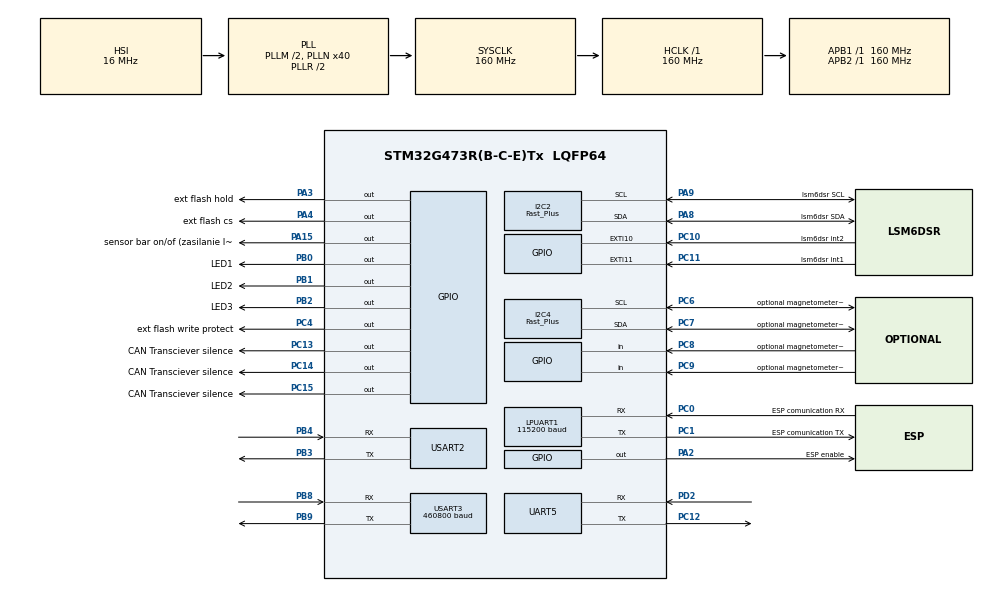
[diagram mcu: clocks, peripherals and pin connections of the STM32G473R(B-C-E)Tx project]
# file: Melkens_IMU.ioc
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Dma.LPUART1_RX.2.Direction=DMA_PERIPH_TO_MEMORY
Dma.LPUART1_RX.2.EventEnable=DISABLE
Dma.LPUART1_RX.2.Instance=DMA1_Channel1
Dma.LPUART1_RX.2.MemDataAlignment=DMA_MDATAALIGN_BYTE
Dma.LPUART1_RX.2.MemInc=DMA_MINC_ENABLE
Dma.LPUART1_RX.2.Mode=DMA_NORMAL
Dma.LPUART1_RX.2.PeriphDataAlignment=DMA_PDATAALIGN_BYTE
Dma.LPUART1_RX.2.PeriphInc=DMA_PINC_DISABLE
Dma.LPUART1_RX.2.Polarity=HAL_DMAMUX_REQ_GEN_RISING
Dma.LPUART1_RX.2.Priority=DMA_PRIORITY_LOW
Dma.LPUART1_RX.2.RequestNumber=1
Dma.LPUART1_RX.2.SignalID=NONE
Dma.LPUART1_RX.2.SyncEnable=DISABLE
Dma.LPUART1_RX.2.SyncPolarity=HAL_DMAMUX_SYNC_NO_EVENT
Dma.LPUART1_RX.2.SyncRequestNumber=1
Dma.LPUART1_RX.2.SyncSignalID=NONE
Dma.LPUART1_TX.3.Direction=DMA_MEMORY_TO_PERIPH
Dma.LPUART1_TX.3.EventEnable=DISABLE
Dma.LPUART1_TX.3.Instance=DMA1_Channel2
Dma.LPUART1_TX.3.MemDataAlignment=DMA_MDATAALIGN_BYTE
Dma.LPUART1_TX.3.MemInc=DMA_MINC_ENABLE
Dma.LPUART1_TX.3.Mode=DMA_NORMAL
Dma.LPUART1_TX.3.PeriphDataAlignment=DMA_PDATAALIGN_BYTE
Dma.LPUART1_TX.3.PeriphInc=DMA_PINC_DISABLE
Dma.LPUART1_TX.3.Polarity=HAL_DMAMUX_REQ_GEN_RISING
Dma.LPUART1_TX.3.Priority=DMA_PRIORITY_LOW
Dma.LPUART1_TX.3.RequestNumber=1
Dma.LPUART1_TX.3.SignalID=NONE
Dma.LPUART1_TX.3.SyncEnable=DISABLE
Dma.LPUART1_TX.3.SyncPolarity=HAL_DMAMUX_SYNC_NO_EVENT
Dma.LPUART1_TX.3.SyncRequestNumber=1
Dma.LPUART1_TX.3.SyncSignalID=NONE
Dma.Request0=USART3_TX
Dma.Request1=USART3_RX
Dma.Request2=LPUART1_RX
Dma.Request3=LPUART1_TX
Dma.Request4=USART2_RX
Dma.Request5=USART2_TX
Dma.Request6=UART5_RX
Dma.Request7=UART5_TX
Dma.UART5_RX.6.Direction=DMA_PERIPH_TO_MEMORY
Dma.UART5_RX.6.EventEnable=DISABLE
Dma.UART5_RX.6.Instance=DMA2_Channel3
Dma.UART5_RX.6.MemDataAlignment=DMA_MDATAALIGN_BYTE
Dma.UART5_RX.6.MemInc=DMA_MINC_ENABLE
Dma.UART5_RX.6.Mode=DMA_NORMAL
Dma.UART5_RX.6.PeriphDataAlignment=DMA_PDATAALIGN_BYTE
Dma.UART5_RX.6.PeriphInc=DMA_PINC_DISABLE
Dma.UART5_RX.6.Polarity=HAL_DMAMUX_REQ_GEN_RISING
Dma.UART5_RX.6.Priority=DMA_PRIORITY_LOW
Dma.UART5_RX.6.RequestNumber=1
Dma.UART5_RX.6.SignalID=NONE
Dma.UART5_RX.6.SyncEnable=DISABLE
Dma.UART5_RX.6.SyncPolarity=HAL_DMAMUX_SYNC_NO_EVENT
Dma.UART5_RX.6.SyncRequestNumber=1
Dma.UART5_RX.6.SyncSignalID=NONE
Dma.UART5_TX.7.Direction=DMA_MEMORY_TO_PERIPH
Dma.UART5_TX.7.EventEnable=DISABLE
Dma.UART5_TX.7.Instance=DMA2_Channel4
Dma.UART5_TX.7.MemDataAlignment=DMA_MDATAALIGN_BYTE
Dma.UART5_TX.7.MemInc=DMA_MINC_ENABLE
Dma.UART5_TX.7.Mode=DMA_NORMAL
Dma.UART5_TX.7.PeriphDataAlignment=DMA_PDATAALIGN_BYTE
Dma.UART5_TX.7.PeriphInc=DMA_PINC_DISABLE
Dma.UART5_TX.7.Polarity=HAL_DMAMUX_REQ_GEN_RISING
Dma.UART5_TX.7.Priority=DMA_PRIORITY_LOW
Dma.UART5_TX.7.RequestNumber=1
Dma.UART5_TX.7.SignalID=NONE
Dma.UART5_TX.7.SyncEnable=DISABLE
Dma.UART5_TX.7.SyncPolarity=HAL_DMAMUX_SYNC_NO_EVENT
Dma.UART5_TX.7.SyncRequestNumber=1
Dma.UART5_TX.7.SyncSignalID=NONE
Dma.USART2_RX.4.Direction=DMA_PERIPH_TO_MEMORY
Dma.USART2_RX.4.EventEnable=DISABLE
Dma.USART2_RX.4.Instance=DMA2_Channel1
Dma.USART2_RX.4.MemDataAlignment=DMA_MDATAALIGN_BYTE
Dma.USART2_RX.4.MemInc=DMA_MINC_ENABLE
Dma.USART2_RX.4.Mode=DMA_NORMAL
Dma.USART2_RX.4.PeriphDataAlignment=DMA_PDATAALIGN_BYTE
Dma.USART2_RX.4.PeriphInc=DMA_PINC_DISABLE
Dma.USART2_RX.4.Polarity=HAL_DMAMUX_REQ_GEN_RISING
Dma.USART2_RX.4.Priority=DMA_PRIORITY_LOW
Dma.USART2_RX.4.RequestNumber=1
Dma.USART2_RX.4.SignalID=NONE
Dma.USART2_RX.4.SyncEnable=DISABLE
Dma.USART2_RX.4.SyncPolarity=HAL_DMAMUX_SYNC_NO_EVENT
Dma.USART2_RX.4.SyncRequestNumber=1
Dma.USART2_RX.4.SyncSignalID=NONE
Dma.USART2_TX.5.Direction=DMA_MEMORY_TO_PERIPH
Dma.USART2_TX.5.EventEnable=DISABLE
Dma.USART2_TX.5.Instance=DMA2_Channel2
Dma.USART2_TX.5.MemDataAlignment=DMA_MDATAALIGN_BYTE
Dma.USART2_TX.5.MemInc=DMA_MINC_ENABLE
Dma.USART2_TX.5.Mode=DMA_NORMAL
Dma.USART2_TX.5.PeriphDataAlignment=DMA_PDATAALIGN_BYTE
Dma.USART2_TX.5.PeriphInc=DMA_PINC_DISABLE
Dma.USART2_TX.5.Polarity=HAL_DMAMUX_REQ_GEN_RISING
Dma.USART2_TX.5.Priority=DMA_PRIORITY_LOW
Dma.USART2_TX.5.RequestNumber=1
Dma.USART2_TX.5.SignalID=NONE
Dma.USART2_TX.5.SyncEnable=DISABLE
Dma.USART2_TX.5.SyncPolarity=HAL_DMAMUX_SYNC_NO_EVENT
Dma.USART2_TX.5.SyncRequestNumber=1
Dma.USART2_TX.5.SyncSignalID=NONE
Dma.USART3_RX.1.Direction=DMA_PERIPH_TO_MEMORY
Dma.USART3_RX.1.EventEnable=DISABLE
Dma.USART3_RX.1.Instance=DMA1_Channel4
Dma.USART3_RX.1.MemDataAlignment=DMA_MDATAALIGN_BYTE
Dma.USART3_RX.1.MemInc=DMA_MINC_ENABLE
Dma.USART3_RX.1.Mode=DMA_NORMAL
Dma.USART3_RX.1.PeriphDataAlignment=DMA_PDATAALIGN_BYTE
Dma.USART3_RX.1.PeriphInc=DMA_PINC_DISABLE
Dma.USART3_RX.1.Polarity=HAL_DMAMUX_REQ_GEN_RISING
Dma.USART3_RX.1.Priority=DMA_PRIORITY_LOW
Dma.USART3_RX.1.RequestNumber=1
Dma.USART3_RX.1.SignalID=NONE
Dma.USART3_RX.1.SyncEnable=DISABLE
Dma.USART3_RX.1.SyncPolarity=HAL_DMAMUX_SYNC_NO_EVENT
Dma.USART3_RX.1.SyncRequestNumber=1
Dma.USART3_RX.1.SyncSignalID=NONE
Dma.USART3_TX.0.Direction=DMA_MEMORY_TO_PERIPH
Dma.USART3_TX.0.EventEnable=DISABLE
Dma.USART3_TX.0.Instance=DMA1_Channel3
Dma.USART3_TX.0.MemDataAlignment=DMA_MDATAALIGN_BYTE
Dma.USART3_TX.0.MemInc=DMA_MINC_ENABLE
Dma.USART3_TX.0.Mode=DMA_NORMAL
Dma.USART3_TX.0.PeriphDataAlignment=DMA_PDATAALIGN_BYTE
Dma.USART3_TX.0.PeriphInc=DMA_PINC_DISABLE
Dma.USART3_TX.0.Polarity=HAL_DMAMUX_REQ_GEN_RISING
Dma.USART3_TX.0.Priority=DMA_PRIORITY_LOW
Dma.USART3_TX.0.RequestNumber=1
Dma.USART3_TX.0.SignalID=NONE
Dma.USART3_TX.0.SyncEnable=DISABLE
Dma.USART3_TX.0.SyncPolarity=HAL_DMAMUX_SYNC_NO_EVENT
Dma.USART3_TX.0.SyncRequestNumber=1
Dma.USART3_TX.0.SyncSignalID=NONE
I2C2.I2C_Speed_Mode=I2C_Fast_Plus
I2C2.Timing=0x00701F6B
I2C4.I2C_Speed_Mode=I2C_Fast_Plus
I2C4.Speed=1000
I2C4.Timing=0x00701F6B
LPUART1.BaudRate=115200
LPUART1.SwapParam=UART_ADVFEATURE_SWAP_DISABLE
Mcu.Family=STM32G4
Mcu.Name=STM32G473R(B-C-E)Tx
Mcu.Package=LQFP64
NVIC.DMA1_Channel1_IRQn=true\:0\:0\:false\:false\:true\:false\:true\:true
NVIC.DMA1_Channel2_IRQn=true\:0\:0\:false\:false\:true\:false\:true\:true
NVIC.DMA1_Channel3_IRQn=true\:0\:0\:false\:false\:true\:false\:true\:true
NVIC.DMA1_Channel4_IRQn=true\:0\:0\:false\:false\:true\:false\:true\:true
NVIC.DMA2_Channel1_IRQn=true\:0\:0\:false\:false\:true\:false\:true\:true
NVIC.DMA2_Channel2_IRQn=true\:0\:0\:false\:false\:true\:false\:true\:true
NVIC.DMA2_Channel3_IRQn=true\:0\:0\:false\:false\:true\:false\:true\:true
NVIC.DMA2_Channel4_IRQn=true\:0\:0\:false\:false\:true\:false\:true\:true
NVIC.EXTI15_10_IRQn=true\:0\:0\:false\:false\:true\:true\:true\:true
NVIC.PriorityGroup=NVIC_PRIORITYGROUP_4
NVIC.TIM7_DAC_IRQn=true\:0\:0\:false\:false\:true\:true\:true\:true
PA13.Mode=Serial_Wire
PA13.Signal=SYS_JTMS-SWDIO
PA14.Mode=Serial_Wire
PA14.Signal=SYS_JTCK-SWCLK
PA15.GPIO_Label=sensor bar on/of (zasilanie listwy z czujnikami)
PA15.Signal=GPIO_Output
PA2.GPIO_Label=ESP enable
PA2.Signal=GPIO_Output
PA3.GPIO_Label=ext flash hold
PA3.Signal=GPIO_Output
PA4.GPIO_Label=ext flash cs
PA4.Signal=GPIO_Output
PA5.GPIO_Label=ext flash SCK
PA5.Signal=SPI1_SCK
PA6.GPIO_Label=ext flash MISO
PA6.Signal=SPI1_MISO
PA7.GPIO_Label=ext flash MOSI
PA7.Signal=SPI1_MOSI
PA8.GPIO_Label=lsm6dsr SDA
PA8.Mode=I2C
PA8.Signal=I2C2_SDA
PA9.GPIO_Label=lsm6dsr SCL
PA9.Mode=I2C
PA9.Signal=I2C2_SCL
PB0.GPIO_Label=LED1
PB0.Signal=GPIO_Output
PB1.GPIO_Label=LED2
PB1.Signal=GPIO_Output
PB2.GPIO_Label=LED3
PB2.Signal=GPIO_Output
PB3.Mode=Asynchronous
PB3.Signal=USART2_TX
PB4.Mode=Asynchronous
PB4.Signal=USART2_RX
PB8-BOOT0.Mode=Asynchronous
PB8-BOOT0.Signal=USART3_RX
PB9.Mode=Asynchronous
PB9.Signal=USART3_TX
PC0.GPIO_Label=ESP comunication RX
PC0.Mode=Asynchronous
PC0.Signal=LPUART1_RX
PC1.GPIO_Label=ESP comunication TX
PC1.Mode=Asynchronous
PC1.Signal=LPUART1_TX
PC10.GPIO_Label=lsm6dsr int2
PC10.Signal=GPXTI10
PC11.GPIO_Label=lsm6dsr int1
PC11.Signal=GPXTI11
PC12.Mode=Asynchronous
PC12.Signal=UART5_TX
PC13.GPIO_Label=CAN Transciever silence
PC13.Signal=GPIO_Output
PC14-OSC32_IN.GPIO_Label=CAN Transciever silence
PC14-OSC32_IN.Signal=GPIO_Output
PC15-OSC32_OUT.GPIO_Label=CAN Transciever silence
PC15-OSC32_OUT.Signal=GPIO_Output
PC4.GPIO_Label=ext flash write protect
PC4.Signal=GPIO_Output
PC6.GPIO_Label=optional magnetometer SCL
PC6.Mode=I2C
PC6.Signal=I2C4_SCL
PC7.GPIO_Label=optional magnetometer SDA
PC7.Mode=I2C
PC7.Signal=I2C4_SDA
PC8.GPIO_Label=optional magnetometer data ready
PC8.Signal=GPIO_Input
PC9.GPIO_Label=optional magnetometer interrupt
PC9.Signal=GPIO_Input
PD2.Mode=Asynchronous
PD2.Signal=UART5_RX
ProjectManager.HeapSize=0x200
ProjectManager.StackSize=0x400
ProjectManager.TargetToolchain=STM32CubeIDE
RCC.ADC12Freq_Value=160000000
RCC.ADC345Freq_Value=160000000
RCC.AHBFreq_Value=160000000
RCC.APB1Freq_Value=160000000
RCC.APB1TimFreq_Value=160000000
RCC.APB2Freq_Value=160000000
RCC.APB2TimFreq_Value=160000000
RCC.CortexFreq_Value=160000000
RCC.EXTERNAL_CLOCK_VALUE=12288000
RCC.HCLKFreq_Value=160000000
RCC.HSE_VALUE=8000000
RCC.HSI48_VALUE=48000000
RCC.HSI_VALUE=16000000
RCC.LSE_VALUE=32768
RCC.PLLM=RCC_PLLM_DIV2
RCC.PLLN=40
RCC.SYSCLKFreq_VALUE=160000000
RCC.SYSCLKSource=RCC_SYSCLKSOURCE_PLLCLK
RCC.USBFreq_Value=160000000
RCC.VCOOutputFreq_Value=320000000
TIM7.AutoReloadPreload=TIM_AUTORELOAD_PRELOAD_ENABLE
TIM7.Dithering=Disable
TIM7.PeriodNoDither=4850
TIM7.Prescaler=30
TIM7.TIM_MasterOutputTrigger=TIM_TRGO_UPDATE
USART2.VirtualMode-Asynchronous=VM_ASYNC
USART3.BaudRate=460800
USART3.VirtualMode-Asynchronous=VM_ASYNC
VP_SYS_VS_DBSignals.Mode=DisableDeadBatterySignals
VP_TIM7_VS_ClockSourceINT.Mode=Enable_Timer
board=custom

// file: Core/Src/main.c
/* USER CODE BEGIN Header */
/**
  ******************************************************************************
  * @file           : main.c
  * @brief          : Main program body
  ******************************************************************************
  * @attention
  *
  * Copyright (c) 2022 STMicroelectronics.
  * All rights reserved.
  *
  * This software is licensed under terms that can be found in the LICENSE file
  * in the root directory of this software component.
  * If no LICENSE file comes with this software, it is provided AS-IS.
  *
  ******************************************************************************
  */
/* USER CODE END Header */
#include "main.h"

/* USER CODE BEGIN Includes */
#include "lsm6dsr_reg.h"
#include "lis3mdl_reg.h"
#include "IMU_func.h"
#include "TimeManager.h"
#include "UartHandler.h"
#include "MagnetsHandler.h"
#include "ConnectivityHandler.h"
#include "DataTypes.h"
#include <stdio.h>
#include "routeManager.h"
/* USER CODE END Includes */

void SystemClock_Config(void);
static void MX_GPIO_Init(void);
static void MX_DMA_Init(void);
static void MX_USART3_UART_Init(void);
static void MX_TIM7_Init(void);
static void MX_UART5_Init(void);
static void MX_USART2_UART_Init(void);
static void MX_LPUART1_UART_Init(void);

int main(void)
{

  /* MCU Configuration--------------------------------------------------------*/

  /* Reset of all peripherals, Initializes the Flash interface and the Systick. */
  HAL_Init();

  /* Configure the system clock */
  SystemClock_Config();

  /* Initialize all configured peripherals */
  MX_GPIO_Init();
  HAL_GPIO_WritePin(LED2_GPIO_Port, LED2_Pin,GPIO_PIN_SET);

  MX_DMA_Init();
  MX_USART3_UART_Init();
  MX_TIM7_Init();
  MX_I2C4_Init();
  MX_UART5_Init();
  MX_USART2_UART_Init();
  MX_LPUART1_UART_Init();
  MX_I2C2_Init();
  /* USER CODE BEGIN 2 */
  //ledy

  HAL_GPIO_WritePin(GPIOA, GPIO_PIN_15, GPIO_PIN_SET);//załączenie listwy z czujnikami
  HAL_GPIO_WritePin(GPIOA, GPIO_PIN_2, GPIO_PIN_SET);//enable esp

  //SysTick_Config(150000); // systick every 1ms
  /* Dirty solution, but now, canot disable systick [BUG 01] */

  SysTick_Config(160000);
  NVIC_SetPriority(SysTick_IRQn, 0x0);

  HAL_GPIO_WritePin(LED1_GPIO_Port, LED1_Pin, GPIO_PIN_RESET);
  IMU_i2c_init();

  TimeManager_Init();
  connectivityHandlerInit();
  IMU_ResetDataReady();
  NVIC_EnableIRQ(EXTI9_5_IRQn);
  MagnetsHandler_Init();
  HAL_GPIO_WritePin(LED3_GPIO_Port, LED3_Pin,GPIO_PIN_RESET);
  RouteManager_Init();

  /* USER CODE END 2 */

  /* Infinite loop */
  /* USER CODE BEGIN WHILE */

  while (1)
  {
	  IMU_Perform();

	  connectivityHandlerPerform();

	  if(TimeManager_Is1msPassed())
	  {
      IMU_Perform1ms();
      RouteManager_Perform1ms();

	  }
	  if(TimeManager_Is10msPassed())
	  {

	  }
	  if(TimeManager_Is100msPassed())
	  {

		  UartHandler_Check_Overrun();

		  HAL_GPIO_TogglePin(LED1_GPIO_Port, LED1_Pin);

		  MagnetsHandler_Perform1ms();//1ms?????
		  IMU_SendDataToPMB();
		  IMU_SendDataToPC();
	  }

	  TimeManager_UpdateFlags();

    /* USER CODE END WHILE */

  }
}

void SystemClock_Config(void)
{
  RCC_OscInitTypeDef RCC_OscInitStruct = {0};
  RCC_ClkInitTypeDef RCC_ClkInitStruct = {0};

  /** Configure the main internal regulator output voltage
  */
  HAL_PWREx_ControlVoltageScaling(PWR_REGULATOR_VOLTAGE_SCALE1_BOOST);

  /** Initializes the RCC Oscillators according to the specified parameters
  * in the RCC_OscInitTypeDef structure.
  */
  RCC_OscInitStruct.OscillatorType = RCC_OSCILLATORTYPE_HSI;
  RCC_OscInitStruct.HSIState = RCC_HSI_ON;
  RCC_OscInitStruct.HSICalibrationValue = RCC_HSICALIBRATION_DEFAULT;
  RCC_OscInitStruct.PLL.PLLState = RCC_PLL_ON;
  RCC_OscInitStruct.PLL.PLLSource = RCC_PLLSOURCE_HSI;
  RCC_OscInitStruct.PLL.PLLM = RCC_PLLM_DIV2;
  RCC_OscInitStruct.PLL.PLLN = 40;
  RCC_OscInitStruct.PLL.PLLP = RCC_PLLP_DIV2;
  RCC_OscInitStruct.PLL.PLLQ = RCC_PLLQ_DIV2;
  RCC_OscInitStruct.PLL.PLLR = RCC_PLLR_DIV2;
  if (HAL_RCC_OscConfig(&RCC_OscInitStruct) != HAL_OK)
  {
    Error_Handler();
  }

  /** Initializes the CPU, AHB and APB buses clocks
  */
  RCC_ClkInitStruct.ClockType = RCC_CLOCKTYPE_HCLK|RCC_CLOCKTYPE_SYSCLK
                              |RCC_CLOCKTYPE_PCLK1|RCC_CLOCKTYPE_PCLK2;
  RCC_ClkInitStruct.SYSCLKSource = RCC_SYSCLKSOURCE_PLLCLK;
  RCC_ClkInitStruct.AHBCLKDivider = RCC_SYSCLK_DIV1;
  RCC_ClkInitStruct.APB1CLKDivider = RCC_HCLK_DIV1;
  RCC_ClkInitStruct.APB2CLKDivider = RCC_HCLK_DIV1;

  if (HAL_RCC_ClockConfig(&RCC_ClkInitStruct, FLASH_LATENCY_4) != HAL_OK)
  {
    Error_Handler();
  }
}

static void MX_LPUART1_UART_Init(void)
{

  LL_LPUART_InitTypeDef LPUART_InitStruct = {0};

  LL_GPIO_InitTypeDef GPIO_InitStruct = {0};
  RCC_PeriphCLKInitTypeDef PeriphClkInit = {0};

  /** Initializes the peripherals clocks
  */
  PeriphClkInit.PeriphClockSelection = RCC_PERIPHCLK_LPUART1;
  PeriphClkInit.Lpuart1ClockSelection = RCC_LPUART1CLKSOURCE_PCLK1;
  if (HAL_RCCEx_PeriphCLKConfig(&PeriphClkInit) != HAL_OK)
  {
    Error_Handler();
  }

  /* Peripheral clock enable */
  LL_APB1_GRP2_EnableClock(LL_APB1_GRP2_PERIPH_LPUART1);

  LL_AHB2_GRP1_EnableClock(LL_AHB2_GRP1_PERIPH_GPIOC);
  /**LPUART1 GPIO Configuration
  PC0   ------> LPUART1_RX
  PC1   ------> LPUART1_TX
  */
  GPIO_InitStruct.Pin = ESP_comunication_RX_Pin;
  GPIO_InitStruct.Mode = LL_GPIO_MODE_ALTERNATE;
  GPIO_InitStruct.Speed = LL_GPIO_SPEED_FREQ_LOW;
  GPIO_InitStruct.OutputType = LL_GPIO_OUTPUT_PUSHPULL;
  GPIO_InitStruct.Pull = LL_GPIO_PULL_NO;
  GPIO_InitStruct.Alternate = LL_GPIO_AF_8;
  LL_GPIO_Init(ESP_comunication_RX_GPIO_Port, &GPIO_InitStruct);

  GPIO_InitStruct.Pin = ESP_comunication_TX_Pin;
  GPIO_InitStruct.Mode = LL_GPIO_MODE_ALTERNATE;
  GPIO_InitStruct.Speed = LL_GPIO_SPEED_FREQ_LOW;
  GPIO_InitStruct.OutputType = LL_GPIO_OUTPUT_PUSHPULL;
  GPIO_InitStruct.Pull = LL_GPIO_PULL_NO;
  GPIO_InitStruct.Alternate = LL_GPIO_AF_8;
  LL_GPIO_Init(ESP_comunication_TX_GPIO_Port, &GPIO_InitStruct);

  /* LPUART1 DMA Init */

  /* LPUART1_RX Init */
  LL_DMA_SetPeriphRequest(DMA1, LL_DMA_CHANNEL_1, LL_DMAMUX_REQ_LPUART1_RX);

  LL_DMA_SetDataTransferDirection(DMA1, LL_DMA_CHANNEL_1, LL_DMA_DIRECTION_PERIPH_TO_MEMORY);

  LL_DMA_SetChannelPriorityLevel(DMA1, LL_DMA_CHANNEL_1, LL_DMA_PRIORITY_LOW);

  LL_DMA_SetMode(DMA1, LL_DMA_CHANNEL_1, LL_DMA_MODE_NORMAL);

  LL_DMA_SetPeriphIncMode(DMA1, LL_DMA_CHANNEL_1, LL_DMA_PERIPH_NOINCREMENT);

  LL_DMA_SetMemoryIncMode(DMA1, LL_DMA_CHANNEL_1, LL_DMA_MEMORY_INCREMENT);

  LL_DMA_SetPeriphSize(DMA1, LL_DMA_CHANNEL_1, LL_DMA_PDATAALIGN_BYTE);

  LL_DMA_SetMemorySize(DMA1, LL_DMA_CHANNEL_1, LL_DMA_MDATAALIGN_BYTE);

  /* LPUART1_TX Init */
  LL_DMA_SetPeriphRequest(DMA1, LL_DMA_CHANNEL_2, LL_DMAMUX_REQ_LPUART1_TX);

  LL_DMA_SetDataTransferDirection(DMA1, LL_DMA_CHANNEL_2, LL_DMA_DIRECTION_MEMORY_TO_PERIPH);

  LL_DMA_SetChannelPriorityLevel(DMA1, LL_DMA_CHANNEL_2, LL_DMA_PRIORITY_LOW);

  LL_DMA_SetMode(DMA1, LL_DMA_CHANNEL_2, LL_DMA_MODE_NORMAL);

  LL_DMA_SetPeriphIncMode(DMA1, LL_DMA_CHANNEL_2, LL_DMA_PERIPH_NOINCREMENT);

  LL_DMA_SetMemoryIncMode(DMA1, LL_DMA_CHANNEL_2, LL_DMA_MEMORY_INCREMENT);

  LL_DMA_SetPeriphSize(DMA1, LL_DMA_CHANNEL_2, LL_DMA_PDATAALIGN_BYTE);

  LL_DMA_SetMemorySize(DMA1, LL_DMA_CHANNEL_2, LL_DMA_MDATAALIGN_BYTE);

  LPUART_InitStruct.PrescalerValue = LL_LPUART_PRESCALER_DIV1;
  LPUART_InitStruct.BaudRate = 115200;
  LPUART_InitStruct.DataWidth = LL_LPUART_DATAWIDTH_8B;
  LPUART_InitStruct.StopBits = LL_LPUART_STOPBITS_1;
  LPUART_InitStruct.Parity = LL_LPUART_PARITY_NONE;
  LPUART_InitStruct.TransferDirection = LL_LPUART_DIRECTION_TX_RX;
  LPUART_InitStruct.HardwareFlowControl = LL_LPUART_HWCONTROL_NONE;
  LL_LPUART_Init(LPUART1, &LPUART_InitStruct);
  LL_LPUART_SetTXFIFOThreshold(LPUART1, LL_LPUART_FIFOTHRESHOLD_1_8);
  LL_LPUART_SetRXFIFOThreshold(LPUART1, LL_LPUART_FIFOTHRESHOLD_1_8);
  LL_LPUART_DisableFIFO(LPUART1);

  LL_LPUART_Enable(LPUART1);

  /* Polling LPUART1 initialisation */
  while((!(LL_LPUART_IsActiveFlag_TEACK(LPUART1))) || (!(LL_LPUART_IsActiveFlag_REACK(LPUART1))))
  {
  }
  /* USER CODE BEGIN LPUART1_Init 2 */

  LL_DMA_SetPeriphAddress(DMA1, LL_DMA_CHANNEL_2,(uint32_t) &LPUART1->TDR);
  LL_DMA_SetMemoryAddress(DMA1, LL_DMA_CHANNEL_2, UartHandler_GetSendBufferAddress(Uart_ConnectivityESP));

  LL_DMA_SetPeriphAddress(DMA1, LL_DMA_CHANNEL_1,(uint32_t) &LPUART1->RDR);
  LL_DMA_SetMemoryAddress(DMA1, LL_DMA_CHANNEL_1, UartHandler_GetReceiveBufferAddress(Uart_ConnectivityESP));

  LL_DMA_SetDataLength(DMA1, LL_DMA_CHANNEL_2, UART1_TX_MESSAGE_LEN); /* 13Bytes -> W;RRR;LLL;33\n -> WheelSpeed; RightWheel int8, LeftWheel int8, Dummy CRC  */
  LL_DMA_SetDataLength(DMA1, LL_DMA_CHANNEL_1, UART1_RX_MESSAGE_LEN); /* Currently only 1-way communication */

  LL_USART_EnableDMAReq_RX(LPUART1);
  LL_USART_EnableDMAReq_TX(LPUART1);

  LL_DMA_EnableIT_TC(DMA1,LL_DMA_CHANNEL_2);
  LL_DMA_EnableIT_TC(DMA1,LL_DMA_CHANNEL_1);

  LL_DMA_EnableIT_HT(DMA1,LL_DMA_CHANNEL_2);
  LL_DMA_EnableIT_HT(DMA1,LL_DMA_CHANNEL_1);

  LL_DMA_EnableIT_TE(DMA1,LL_DMA_CHANNEL_2);
  LL_DMA_EnableIT_TE(DMA1,LL_DMA_CHANNEL_1);

  //LL_DMA_EnableChannel(DMA1, LL_DMA_CHANNEL_3);
  LL_DMA_EnableChannel(DMA1, LL_DMA_CHANNEL_1);

  LL_USART_EnableIT_ERROR(LPUART1);
  //LL_USART_EnableIT_TXE(USART1);
  //LL_USART_EnableIT_TC(USART1);

  /* USER CODE END LPUART1_Init 2 */

}

static void MX_UART5_Init(void)
{

  LL_USART_InitTypeDef USART_InitStruct = {0};

  LL_GPIO_InitTypeDef GPIO_InitStruct = {0};
  RCC_PeriphCLKInitTypeDef PeriphClkInit = {0};

  /** Initializes the peripherals clocks
  */
  PeriphClkInit.PeriphClockSelection = RCC_PERIPHCLK_UART5;
  PeriphClkInit.Uart5ClockSelection = RCC_UART5CLKSOURCE_PCLK1;
  if (HAL_RCCEx_PeriphCLKConfig(&PeriphClkInit) != HAL_OK)
  {
    Error_Handler();
  }

  /* Peripheral clock enable */
  LL_APB1_GRP1_EnableClock(LL_APB1_GRP1_PERIPH_UART5);

  LL_AHB2_GRP1_EnableClock(LL_AHB2_GRP1_PERIPH_GPIOC);
  LL_AHB2_GRP1_EnableClock(LL_AHB2_GRP1_PERIPH_GPIOD);
  /**UART5 GPIO Configuration
  PC12   ------> UART5_TX
  PD2   ------> UART5_RX
  */
  GPIO_InitStruct.Pin = LL_GPIO_PIN_12;
  GPIO_InitStruct.Mode = LL_GPIO_MODE_ALTERNATE;
  GPIO_InitStruct.Speed = LL_GPIO_SPEED_FREQ_LOW;
  GPIO_InitStruct.OutputType = LL_GPIO_OUTPUT_PUSHPULL;
  GPIO_InitStruct.Pull = LL_GPIO_PULL_NO;
  GPIO_InitStruct.Alternate = LL_GPIO_AF_5;
  LL_GPIO_Init(GPIOC, &GPIO_InitStruct);

  GPIO_InitStruct.Pin = LL_GPIO_PIN_2;
  GPIO_InitStruct.Mode = LL_GPIO_MODE_ALTERNATE;
  GPIO_InitStruct.Speed = LL_GPIO_SPEED_FREQ_LOW;
  GPIO_InitStruct.OutputType = LL_GPIO_OUTPUT_PUSHPULL;
  GPIO_InitStruct.Pull = LL_GPIO_PULL_NO;
  GPIO_InitStruct.Alternate = LL_GPIO_AF_5;
  LL_GPIO_Init(GPIOD, &GPIO_InitStruct);

  /* UART5 DMA Init */

  /* UART5_RX Init */
  LL_DMA_SetPeriphRequest(DMA2, LL_DMA_CHANNEL_3, LL_DMAMUX_REQ_UART5_RX);

  LL_DMA_SetDataTransferDirection(DMA2, LL_DMA_CHANNEL_3, LL_DMA_DIRECTION_PERIPH_TO_MEMORY);

  LL_DMA_SetChannelPriorityLevel(DMA2, LL_DMA_CHANNEL_3, LL_DMA_PRIORITY_LOW);

  LL_DMA_SetMode(DMA2, LL_DMA_CHANNEL_3, LL_DMA_MODE_NORMAL);

  LL_DMA_SetPeriphIncMode(DMA2, LL_DMA_CHANNEL_3, LL_DMA_PERIPH_NOINCREMENT);

  LL_DMA_SetMemoryIncMode(DMA2, LL_DMA_CHANNEL_3, LL_DMA_MEMORY_INCREMENT);

  LL_DMA_SetPeriphSize(DMA2, LL_DMA_CHANNEL_3, LL_DMA_PDATAALIGN_BYTE);

  LL_DMA_SetMemorySize(DMA2, LL_DMA_CHANNEL_3, LL_DMA_MDATAALIGN_BYTE);

  /* UART5_TX Init */
  LL_DMA_SetPeriphRequest(DMA2, LL_DMA_CHANNEL_4, LL_DMAMUX_REQ_UART5_TX);

  LL_DMA_SetDataTransferDirection(DMA2, LL_DMA_CHANNEL_4, LL_DMA_DIRECTION_MEMORY_TO_PERIPH);

  LL_DMA_SetChannelPriorityLevel(DMA2, LL_DMA_CHANNEL_4, LL_DMA_PRIORITY_LOW);

  LL_DMA_SetMode(DMA2, LL_DMA_CHANNEL_4, LL_DMA_MODE_NORMAL);

  LL_DMA_SetPeriphIncMode(DMA2, LL_DMA_CHANNEL_4, LL_DMA_PERIPH_NOINCREMENT);

  LL_DMA_SetMemoryIncMode(DMA2, LL_DMA_CHANNEL_4, LL_DMA_MEMORY_INCREMENT);

  LL_DMA_SetPeriphSize(DMA2, LL_DMA_CHANNEL_4, LL_DMA_PDATAALIGN_BYTE);

  LL_DMA_SetMemorySize(DMA2, LL_DMA_CHANNEL_4, LL_DMA_MDATAALIGN_BYTE);

  USART_InitStruct.PrescalerValue = LL_USART_PRESCALER_DIV1;
  USART_InitStruct.BaudRate = 115200;
  USART_InitStruct.DataWidth = LL_USART_DATAWIDTH_8B;
  USART_InitStruct.StopBits = LL_USART_STOPBITS_1;
  USART_InitStruct.Parity = LL_USART_PARITY_NONE;
  USART_InitStruct.TransferDirection = LL_USART_DIRECTION_TX_RX;
  USART_InitStruct.HardwareFlowControl = LL_USART_HWCONTROL_NONE;
  USART_InitStruct.OverSampling = LL_USART_OVERSAMPLING_16;
  LL_USART_Init(UART5, &USART_InitStruct);
  LL_USART_DisableFIFO(UART5);
  LL_USART_SetTXFIFOThreshold(UART5, LL_USART_FIFOTHRESHOLD_1_8);
  LL_USART_SetRXFIFOThreshold(UART5, LL_USART_FIFOTHRESHOLD_1_8);
  LL_USART_ConfigAsyncMode(UART5);

  LL_USART_Enable(UART5);

  /* Polling UART5 initialisation */
  while((!(LL_USART_IsActiveFlag_TEACK(UART5))) || (!(LL_USART_IsActiveFlag_REACK(UART5))))
  {
  }
  /* USER CODE BEGIN UART5_Init 2 */

     LL_DMA_SetPeriphAddress(DMA2, LL_DMA_CHANNEL_4,(uint32_t) &UART5->TDR);
     LL_DMA_SetMemoryAddress(DMA2, LL_DMA_CHANNEL_4, UartHandler_GetSendBufferAddress(Uart_5));

     LL_DMA_SetPeriphAddress(DMA2, LL_DMA_CHANNEL_3,(uint32_t) &UART5->RDR);
     LL_DMA_SetMemoryAddress(DMA2, LL_DMA_CHANNEL_3, UartHandler_GetReceiveBufferAddress(Uart_5));

     LL_DMA_SetDataLength(DMA2, LL_DMA_CHANNEL_4, UART5_TX_MESSAGE_LEN); /* 13Bytes -> W;RRR;LLL;33\n -> WheelSpeed; RightWheel int8, LeftWheel int8, Dummy CRC  */
     LL_DMA_SetDataLength(DMA2, LL_DMA_CHANNEL_3, UART5_RX_MESSAGE_LEN); /* Currently only 1-way communication */

     LL_USART_EnableDMAReq_RX(UART5);
     LL_USART_EnableDMAReq_TX(UART5);

     LL_DMA_EnableIT_TC(DMA2,LL_DMA_CHANNEL_4);
     LL_DMA_EnableIT_TC(DMA2,LL_DMA_CHANNEL_3);

     LL_DMA_EnableIT_HT(DMA2,LL_DMA_CHANNEL_4);
     LL_DMA_EnableIT_HT(DMA2,LL_DMA_CHANNEL_3);

     LL_DMA_EnableIT_TE(DMA2,LL_DMA_CHANNEL_4);
     LL_DMA_EnableIT_TE(DMA2,LL_DMA_CHANNEL_3);

     //LL_DMA_EnableChannel(DMA2, LL_DMA_CHANNEL_4);
     LL_DMA_EnableChannel(DMA2, LL_DMA_CHANNEL_3);

     LL_USART_EnableIT_ERROR(UART5);
     //LL_USART_EnableIT_TXE(UART5);
    // LL_USART_EnableIT_TC(UART5);

  /* USER CODE END UART5_Init 2 */

}

static void MX_USART2_UART_Init(void)
{

  LL_USART_InitTypeDef USART_InitStruct = {0};

  LL_GPIO_InitTypeDef GPIO_InitStruct = {0};
  RCC_PeriphCLKInitTypeDef PeriphClkInit = {0};

  /** Initializes the peripherals clocks
  */
  PeriphClkInit.PeriphClockSelection = RCC_PERIPHCLK_USART2;
  PeriphClkInit.Usart2ClockSelection = RCC_USART2CLKSOURCE_PCLK1;
  if (HAL_RCCEx_PeriphCLKConfig(&PeriphClkInit) != HAL_OK)
  {
    Error_Handler();
  }

  /* Peripheral clock enable */
  LL_APB1_GRP1_EnableClock(LL_APB1_GRP1_PERIPH_USART2);

  LL_AHB2_GRP1_EnableClock(LL_AHB2_GRP1_PERIPH_GPIOB);
  /**USART2 GPIO Configuration
  PB3   ------> USART2_TX
  PB4   ------> USART2_RX
  */
  GPIO_InitStruct.Pin = LL_GPIO_PIN_3;
  GPIO_InitStruct.Mode = LL_GPIO_MODE_ALTERNATE;
  GPIO_InitStruct.Speed = LL_GPIO_SPEED_FREQ_LOW;
  GPIO_InitStruct.OutputType = LL_GPIO_OUTPUT_PUSHPULL;
  GPIO_InitStruct.Pull = LL_GPIO_PULL_NO;
  GPIO_InitStruct.Alternate = LL_GPIO_AF_7;
  LL_GPIO_Init(GPIOB, &GPIO_InitStruct);

  GPIO_InitStruct.Pin = LL_GPIO_PIN_4;
  GPIO_InitStruct.Mode = LL_GPIO_MODE_ALTERNATE;
  GPIO_InitStruct.Speed = LL_GPIO_SPEED_FREQ_LOW;
  GPIO_InitStruct.OutputType = LL_GPIO_OUTPUT_PUSHPULL;
  GPIO_InitStruct.Pull = LL_GPIO_PULL_NO;
  GPIO_InitStruct.Alternate = LL_GPIO_AF_7;
  LL_GPIO_Init(GPIOB, &GPIO_InitStruct);

  /* USART2 DMA Init */

  /* USART2_RX Init */
  LL_DMA_SetPeriphRequest(DMA2, LL_DMA_CHANNEL_1, LL_DMAMUX_REQ_USART2_RX);

  LL_DMA_SetDataTransferDirection(DMA2, LL_DMA_CHANNEL_1, LL_DMA_DIRECTION_PERIPH_TO_MEMORY);

  LL_DMA_SetChannelPriorityLevel(DMA2, LL_DMA_CHANNEL_1, LL_DMA_PRIORITY_LOW);

  LL_DMA_SetMode(DMA2, LL_DMA_CHANNEL_1, LL_DMA_MODE_NORMAL);

  LL_DMA_SetPeriphIncMode(DMA2, LL_DMA_CHANNEL_1, LL_DMA_PERIPH_NOINCREMENT);

  LL_DMA_SetMemoryIncMode(DMA2, LL_DMA_CHANNEL_1, LL_DMA_MEMORY_INCREMENT);

  LL_DMA_SetPeriphSize(DMA2, LL_DMA_CHANNEL_1, LL_DMA_PDATAALIGN_BYTE);

  LL_DMA_SetMemorySize(DMA2, LL_DMA_CHANNEL_1, LL_DMA_MDATAALIGN_BYTE);

  /* USART2_TX Init */
  LL_DMA_SetPeriphRequest(DMA2, LL_DMA_CHANNEL_2, LL_DMAMUX_REQ_USART2_TX);

  LL_DMA_SetDataTransferDirection(DMA2, LL_DMA_CHANNEL_2, LL_DMA_DIRECTION_MEMORY_TO_PERIPH);

  LL_DMA_SetChannelPriorityLevel(DMA2, LL_DMA_CHANNEL_2, LL_DMA_PRIORITY_LOW);

  LL_DMA_SetMode(DMA2, LL_DMA_CHANNEL_2, LL_DMA_MODE_NORMAL);

  LL_DMA_SetPeriphIncMode(DMA2, LL_DMA_CHANNEL_2, LL_DMA_PERIPH_NOINCREMENT);

  LL_DMA_SetMemoryIncMode(DMA2, LL_DMA_CHANNEL_2, LL_DMA_MEMORY_INCREMENT);

  LL_DMA_SetPeriphSize(DMA2, LL_DMA_CHANNEL_2, LL_DMA_PDATAALIGN_BYTE);

  LL_DMA_SetMemorySize(DMA2, LL_DMA_CHANNEL_2, LL_DMA_MDATAALIGN_BYTE);

  USART_InitStruct.PrescalerValue = LL_USART_PRESCALER_DIV1;
  USART_InitStruct.BaudRate = 115200;
  USART_InitStruct.DataWidth = LL_USART_DATAWIDTH_8B;
  USART_InitStruct.StopBits = LL_USART_STOPBITS_1;
  USART_InitStruct.Parity = LL_USART_PARITY_NONE;
  USART_InitStruct.TransferDirection = LL_USART_DIRECTION_TX_RX;
  USART_InitStruct.HardwareFlowControl = LL_USART_HWCONTROL_NONE;
  USART_InitStruct.OverSampling = LL_USART_OVERSAMPLING_16;
  LL_USART_Init(USART2, &USART_InitStruct);
  LL_USART_SetTXFIFOThreshold(USART2, LL_USART_FIFOTHRESHOLD_1_8);
  LL_USART_SetRXFIFOThreshold(USART2, LL_USART_FIFOTHRESHOLD_1_8);
  LL_USART_DisableFIFO(USART2);
  LL_USART_ConfigAsyncMode(USART2);

  LL_USART_Enable(USART2);

  /* Polling USART2 initialisation */
  while((!(LL_USART_IsActiveFlag_TEACK(USART2))) || (!(LL_USART_IsActiveFlag_REACK(USART2))))
  {
  }
  /* USER CODE BEGIN USART2_Init 2 */

  	   LL_DMA_SetPeriphAddress(DMA2, LL_DMA_CHANNEL_2,(uint32_t) &USART2->TDR);
       LL_DMA_SetMemoryAddress(DMA2, LL_DMA_CHANNEL_2, UartHandler_GetSendBufferAddress(Uart_PMB));

       LL_DMA_SetPeriphAddress(DMA2, LL_DMA_CHANNEL_1,(uint32_t) &USART2->RDR);
       LL_DMA_SetMemoryAddress(DMA2, LL_DMA_CHANNEL_1, UartHandler_GetReceiveBufferAddress(Uart_PMB));

       LL_DMA_SetDataLength(DMA2, LL_DMA_CHANNEL_2, UART2_TX_MESSAGE_LEN); /* 13Bytes -> W;RRR;LLL;33\n -> WheelSpeed; RightWheel int8, LeftWheel int8, Dummy CRC  */
       LL_DMA_SetDataLength(DMA2, LL_DMA_CHANNEL_1, UART2_RX_MESSAGE_LEN); /* Currently only 1-way communication */

       LL_USART_EnableDMAReq_RX(USART2);
       LL_USART_EnableDMAReq_TX(USART2);

       LL_DMA_EnableIT_TC(DMA2,LL_DMA_CHANNEL_2);
       LL_DMA_EnableIT_TC(DMA2,LL_DMA_CHANNEL_1);

       LL_DMA_EnableIT_HT(DMA2,LL_DMA_CHANNEL_2);
       LL_DMA_EnableIT_HT(DMA2,LL_DMA_CHANNEL_1);

       LL_DMA_EnableIT_TE(DMA2,LL_DMA_CHANNEL_2);
       LL_DMA_EnableIT_TE(DMA2,LL_DMA_CHANNEL_1);

       //LL_DMA_EnableChannel(DMA2, LL_DMA_CHANNEL_4);
       LL_DMA_EnableChannel(DMA2, LL_DMA_CHANNEL_1);

       LL_USART_EnableIT_ERROR(USART2);

       //channel 1 - RX
       //channel 2 - TX
       //LL_USART_EnableIT_TXE(USART5);
      // LL_USART_EnableIT_TC(USART5);

  /* USER CODE END USART2_Init 2 */

}

static void MX_USART3_UART_Init(void)
{

  LL_USART_InitTypeDef USART_InitStruct = {0};

  LL_GPIO_InitTypeDef GPIO_InitStruct = {0};
  RCC_PeriphCLKInitTypeDef PeriphClkInit = {0};

  /** Initializes the peripherals clocks
  */
  PeriphClkInit.PeriphClockSelection = RCC_PERIPHCLK_USART3;
  PeriphClkInit.Usart3ClockSelection = RCC_USART3CLKSOURCE_PCLK1;
  if (HAL_RCCEx_PeriphCLKConfig(&PeriphClkInit) != HAL_OK)
  {
    Error_Handler();
  }

  /* Peripheral clock enable */
  LL_APB1_GRP1_EnableClock(LL_APB1_GRP1_PERIPH_USART3);

  LL_AHB2_GRP1_EnableClock(LL_AHB2_GRP1_PERIPH_GPIOB);
  /**USART3 GPIO Configuration
  PB8-BOOT0   ------> USART3_RX
  PB9   ------> USART3_TX
  */
  GPIO_InitStruct.Pin = LL_GPIO_PIN_8;
  GPIO_InitStruct.Mode = LL_GPIO_MODE_ALTERNATE;
  GPIO_InitStruct.Speed = LL_GPIO_SPEED_FREQ_LOW;
  GPIO_InitStruct.OutputType = LL_GPIO_OUTPUT_PUSHPULL;
  GPIO_InitStruct.Pull = LL_GPIO_PULL_NO;
  GPIO_InitStruct.Alternate = LL_GPIO_AF_7;
  LL_GPIO_Init(GPIOB, &GPIO_InitStruct);

  GPIO_InitStruct.Pin = LL_GPIO_PIN_9;
  GPIO_InitStruct.Mode = LL_GPIO_MODE_ALTERNATE;
  GPIO_InitStruct.Speed = LL_GPIO_SPEED_FREQ_LOW;
  GPIO_InitStruct.OutputType = LL_GPIO_OUTPUT_PUSHPULL;
  GPIO_InitStruct.Pull = LL_GPIO_PULL_NO;
  GPIO_InitStruct.Alternate = LL_GPIO_AF_7;
  LL_GPIO_Init(GPIOB, &GPIO_InitStruct);

  /* USART3 DMA Init */

  /* USART3_TX Init */
  LL_DMA_SetPeriphRequest(DMA1, LL_DMA_CHANNEL_3, LL_DMAMUX_REQ_USART3_TX);

  LL_DMA_SetDataTransferDirection(DMA1, LL_DMA_CHANNEL_3, LL_DMA_DIRECTION_MEMORY_TO_PERIPH);

  LL_DMA_SetChannelPriorityLevel(DMA1, LL_DMA_CHANNEL_3, LL_DMA_PRIORITY_LOW);

  LL_DMA_SetMode(DMA1, LL_DMA_CHANNEL_3, LL_DMA_MODE_NORMAL);

  LL_DMA_SetPeriphIncMode(DMA1, LL_DMA_CHANNEL_3, LL_DMA_PERIPH_NOINCREMENT);

  LL_DMA_SetMemoryIncMode(DMA1, LL_DMA_CHANNEL_3, LL_DMA_MEMORY_INCREMENT);

  LL_DMA_SetPeriphSize(DMA1, LL_DMA_CHANNEL_3, LL_DMA_PDATAALIGN_BYTE);

  LL_DMA_SetMemorySize(DMA1, LL_DMA_CHANNEL_3, LL_DMA_MDATAALIGN_BYTE);

  /* USART3_RX Init */
  LL_DMA_SetPeriphRequest(DMA1, LL_DMA_CHANNEL_4, LL_DMAMUX_REQ_USART3_RX);

  LL_DMA_SetDataTransferDirection(DMA1, LL_DMA_CHANNEL_4, LL_DMA_DIRECTION_PERIPH_TO_MEMORY);

  LL_DMA_SetChannelPriorityLevel(DMA1, LL_DMA_CHANNEL_4, LL_DMA_PRIORITY_LOW);

  LL_DMA_SetMode(DMA1, LL_DMA_CHANNEL_4, LL_DMA_MODE_NORMAL);

  LL_DMA_SetPeriphIncMode(DMA1, LL_DMA_CHANNEL_4, LL_DMA_PERIPH_NOINCREMENT);

  LL_DMA_SetMemoryIncMode(DMA1, LL_DMA_CHANNEL_4, LL_DMA_MEMORY_INCREMENT);

  LL_DMA_SetPeriphSize(DMA1, LL_DMA_CHANNEL_4, LL_DMA_PDATAALIGN_BYTE);

  LL_DMA_SetMemorySize(DMA1, LL_DMA_CHANNEL_4, LL_DMA_MDATAALIGN_BYTE);

  USART_InitStruct.PrescalerValue = LL_USART_PRESCALER_DIV1;
  USART_InitStruct.BaudRate = 460800;
  USART_InitStruct.DataWidth = LL_USART_DATAWIDTH_8B;
  USART_InitStruct.StopBits = LL_USART_STOPBITS_1;
  USART_InitStruct.Parity = LL_USART_PARITY_NONE;
  USART_InitStruct.TransferDirection = LL_USART_DIRECTION_TX_RX;
  USART_InitStruct.HardwareFlowControl = LL_USART_HWCONTROL_NONE;
  USART_InitStruct.OverSampling = LL_USART_OVERSAMPLING_16;
  LL_USART_Init(USART3, &USART_InitStruct);
  LL_USART_SetTXFIFOThreshold(USART3, LL_USART_FIFOTHRESHOLD_1_8);
  LL_USART_SetRXFIFOThreshold(USART3, LL_USART_FIFOTHRESHOLD_1_8);
  LL_USART_DisableFIFO(USART3);
  LL_USART_ConfigAsyncMode(USART3);

  /* USER CODE BEGIN WKUPType USART3 */
  LL_DMA_SetPeriphAddress(DMA1, LL_DMA_CHANNEL_3,(uint32_t) &USART3->TDR);
   LL_DMA_SetMemoryAddress(DMA1, LL_DMA_CHANNEL_3, UartHandler_GetSendBufferAddress(Uart_3));

   LL_DMA_SetPeriphAddress(DMA1, LL_DMA_CHANNEL_4,(uint32_t) &USART3->RDR);
   LL_DMA_SetMemoryAddress(DMA1, LL_DMA_CHANNEL_4, UartHandler_GetReceiveBufferAddress(Uart_3));

   LL_DMA_SetDataLength(DMA1, LL_DMA_CHANNEL_3, UART3_TX_MESSAGE_LEN); /* 13Bytes -> W;RRR;LLL;33\n -> WheelSpeed; RightWheel int8, LeftWheel int8, Dummy CRC  */
   LL_DMA_SetDataLength(DMA1, LL_DMA_CHANNEL_4, UART3_RX_MESSAGE_LEN); /* Currently only 1-way communication */

   LL_USART_EnableDMAReq_RX(USART3);
   LL_USART_EnableDMAReq_TX(USART3);

   LL_DMA_EnableIT_TC(DMA1,LL_DMA_CHANNEL_3);
   LL_DMA_EnableIT_TC(DMA1,LL_DMA_CHANNEL_4);

   LL_DMA_EnableIT_HT(DMA1,LL_DMA_CHANNEL_3);
   LL_DMA_EnableIT_HT(DMA1,LL_DMA_CHANNEL_4);

   LL_DMA_EnableIT_TE(DMA1,LL_DMA_CHANNEL_3);
   LL_DMA_EnableIT_TE(DMA1,LL_DMA_CHANNEL_4);

   //LL_DMA_EnableChannel(DMA1, LL_DMA_CHANNEL_3);
   LL_DMA_EnableChannel(DMA1, LL_DMA_CHANNEL_4);

   LL_USART_EnableIT_ERROR(USART3);
   //LL_USART_EnableIT_TXE(USART1);
  // LL_USART_EnableIT_TC(USART1);
  /* USER CODE END WKUPType USART3 */

  LL_USART_Enable(USART3);

  /* Polling USART3 initialisation */
  while((!(LL_USART_IsActiveFlag_TEACK(USART3))) || (!(LL_USART_IsActiveFlag_REACK(USART3))))
  {
  }

}

static void MX_TIM7_Init(void)
{

  LL_TIM_InitTypeDef TIM_InitStruct = {0};

  /* Peripheral clock enable */
  LL_APB1_GRP1_EnableClock(LL_APB1_GRP1_PERIPH_TIM7);

  /* TIM7 interrupt Init */
  NVIC_SetPriority(TIM7_DAC_IRQn, NVIC_EncodePriority(NVIC_GetPriorityGrouping(),0, 0));
  NVIC_EnableIRQ(TIM7_DAC_IRQn);

  TIM_InitStruct.Prescaler = 30;
  TIM_InitStruct.CounterMode = LL_TIM_COUNTERMODE_UP;
  TIM_InitStruct.Autoreload = 4850;
  LL_TIM_Init(TIM7, &TIM_InitStruct);
  LL_TIM_EnableARRPreload(TIM7);
  LL_TIM_SetTriggerOutput(TIM7, LL_TIM_TRGO_UPDATE);
  LL_TIM_DisableMasterSlaveMode(TIM7);
  /* USER CODE BEGIN TIM7_Init 2 */
  LL_TIM_EnableIT_UPDATE(TIM7);
  LL_TIM_EnableCounter(TIM7);
  /* USER CODE END TIM7_Init 2 */

}

static void MX_DMA_Init(void)
{

  /* DMA controller clock enable */
  __HAL_RCC_DMAMUX1_CLK_ENABLE();
  __HAL_RCC_DMA1_CLK_ENABLE();
  __HAL_RCC_DMA2_CLK_ENABLE();

  /* DMA interrupt init */
  /* DMA1_Channel1_IRQn interrupt configuration */
  NVIC_SetPriority(DMA1_Channel1_IRQn, NVIC_EncodePriority(NVIC_GetPriorityGrouping(),0, 0));
  NVIC_EnableIRQ(DMA1_Channel1_IRQn);
  /* DMA1_Channel2_IRQn interrupt configuration */
  NVIC_SetPriority(DMA1_Channel2_IRQn, NVIC_EncodePriority(NVIC_GetPriorityGrouping(),0, 0));
  NVIC_EnableIRQ(DMA1_Channel2_IRQn);
  /* DMA1_Channel3_IRQn interrupt configuration */
  NVIC_SetPriority(DMA1_Channel3_IRQn, NVIC_EncodePriority(NVIC_GetPriorityGrouping(),0, 0));
  NVIC_EnableIRQ(DMA1_Channel3_IRQn);
  /* DMA1_Channel4_IRQn interrupt configuration */
  NVIC_SetPriority(DMA1_Channel4_IRQn, NVIC_EncodePriority(NVIC_GetPriorityGrouping(),0, 0));
  NVIC_EnableIRQ(DMA1_Channel4_IRQn);
  /* DMA2_Channel1_IRQn interrupt configuration */
  NVIC_SetPriority(DMA2_Channel1_IRQn, NVIC_EncodePriority(NVIC_GetPriorityGrouping(),0, 0));
  NVIC_EnableIRQ(DMA2_Channel1_IRQn);
  /* DMA2_Channel2_IRQn interrupt configuration */
  NVIC_SetPriority(DMA2_Channel2_IRQn, NVIC_EncodePriority(NVIC_GetPriorityGrouping(),0, 0));
  NVIC_EnableIRQ(DMA2_Channel2_IRQn);
  /* DMA2_Channel3_IRQn interrupt configuration */
  NVIC_SetPriority(DMA2_Channel3_IRQn, NVIC_EncodePriority(NVIC_GetPriorityGrouping(),0, 0));
  NVIC_EnableIRQ(DMA2_Channel3_IRQn);
  /* DMA2_Channel4_IRQn interrupt configuration */
  NVIC_SetPriority(DMA2_Channel4_IRQn, NVIC_EncodePriority(NVIC_GetPriorityGrouping(),0, 0));
  NVIC_EnableIRQ(DMA2_Channel4_IRQn);

}

static void MX_GPIO_Init(void)
{
  LL_EXTI_InitTypeDef EXTI_InitStruct = {0};
  LL_GPIO_InitTypeDef GPIO_InitStruct = {0};

  /* GPIO Ports Clock Enable */
  LL_AHB2_GRP1_EnableClock(LL_AHB2_GRP1_PERIPH_GPIOC);
  LL_AHB2_GRP1_EnableClock(LL_AHB2_GRP1_PERIPH_GPIOA);
  LL_AHB2_GRP1_EnableClock(LL_AHB2_GRP1_PERIPH_GPIOB);
  LL_AHB2_GRP1_EnableClock(LL_AHB2_GRP1_PERIPH_GPIOD);

  /**/
  LL_GPIO_ResetOutputPin(CAN_Transciever_silence_GPIO_Port, CAN_Transciever_silence_Pin);

  /**/
  LL_GPIO_ResetOutputPin(CAN_Transciever_silenceC14_GPIO_Port, CAN_Transciever_silenceC14_Pin);

  /**/
  LL_GPIO_ResetOutputPin(CAN_Transciever_silenceC15_GPIO_Port, CAN_Transciever_silenceC15_Pin);

  /**/
  LL_GPIO_ResetOutputPin(ESP_enable_GPIO_Port, ESP_enable_Pin);

  /**/
  LL_GPIO_ResetOutputPin(ext_flash_hold_GPIO_Port, ext_flash_hold_Pin);

  /**/
  LL_GPIO_ResetOutputPin(ext_flash_cs_GPIO_Port, ext_flash_cs_Pin);

  /**/
  LL_GPIO_ResetOutputPin(ext_flash_write_protect_GPIO_Port, ext_flash_write_protect_Pin);

  /**/
  LL_GPIO_ResetOutputPin(LED1_GPIO_Port, LED1_Pin);

  /**/
  LL_GPIO_ResetOutputPin(LED2_GPIO_Port, LED2_Pin);

  /**/
  LL_GPIO_ResetOutputPin(LED3_GPIO_Port, LED3_Pin);

  /**/
  LL_GPIO_ResetOutputPin(sensor_bar_on_of_GPIO_Port, sensor_bar_on_of_Pin);

  /**/
  GPIO_InitStruct.Pin = CAN_Transciever_silence_Pin;
  GPIO_InitStruct.Mode = LL_GPIO_MODE_OUTPUT;
  GPIO_InitStruct.Speed = LL_GPIO_SPEED_FREQ_LOW;
  GPIO_InitStruct.OutputType = LL_GPIO_OUTPUT_PUSHPULL;
  GPIO_InitStruct.Pull = LL_GPIO_PULL_NO;
  LL_GPIO_Init(CAN_Transciever_silence_GPIO_Port, &GPIO_InitStruct);

  /**/
  GPIO_InitStruct.Pin = CAN_Transciever_silenceC14_Pin;
  GPIO_InitStruct.Mode = LL_GPIO_MODE_OUTPUT;
  GPIO_InitStruct.Speed = LL_GPIO_SPEED_FREQ_LOW;
  GPIO_InitStruct.OutputType = LL_GPIO_OUTPUT_PUSHPULL;
  GPIO_InitStruct.Pull = LL_GPIO_PULL_NO;
  LL_GPIO_Init(CAN_Transciever_silenceC14_GPIO_Port, &GPIO_InitStruct);

  /**/
  GPIO_InitStruct.Pin = CAN_Transciever_silenceC15_Pin;
  GPIO_InitStruct.Mode = LL_GPIO_MODE_OUTPUT;
  GPIO_InitStruct.Speed = LL_GPIO_SPEED_FREQ_LOW;
  GPIO_InitStruct.OutputType = LL_GPIO_OUTPUT_PUSHPULL;
  GPIO_InitStruct.Pull = LL_GPIO_PULL_NO;
  LL_GPIO_Init(CAN_Transciever_silenceC15_GPIO_Port, &GPIO_InitStruct);

  /**/
  GPIO_InitStruct.Pin = ESP_enable_Pin;
  GPIO_InitStruct.Mode = LL_GPIO_MODE_OUTPUT;
  GPIO_InitStruct.Speed = LL_GPIO_SPEED_FREQ_LOW;
  GPIO_InitStruct.OutputType = LL_GPIO_OUTPUT_PUSHPULL;
  GPIO_InitStruct.Pull = LL_GPIO_PULL_NO;
  LL_GPIO_Init(ESP_enable_GPIO_Port, &GPIO_InitStruct);

  /**/
  GPIO_InitStruct.Pin = ext_flash_hold_Pin;
  GPIO_InitStruct.Mode = LL_GPIO_MODE_OUTPUT;
  GPIO_InitStruct.Speed = LL_GPIO_SPEED_FREQ_LOW;
  GPIO_InitStruct.OutputType = LL_GPIO_OUTPUT_PUSHPULL;
  GPIO_InitStruct.Pull = LL_GPIO_PULL_NO;
  LL_GPIO_Init(ext_flash_hold_GPIO_Port, &GPIO_InitStruct);

  /**/
  GPIO_InitStruct.Pin = ext_flash_cs_Pin;
  GPIO_InitStruct.Mode = LL_GPIO_MODE_OUTPUT;
  GPIO_InitStruct.Speed = LL_GPIO_SPEED_FREQ_LOW;
  GPIO_InitStruct.OutputType = LL_GPIO_OUTPUT_PUSHPULL;
  GPIO_InitStruct.Pull = LL_GPIO_PULL_NO;
  LL_GPIO_Init(ext_flash_cs_GPIO_Port, &GPIO_InitStruct);

  /**/
  GPIO_InitStruct.Pin = ext_flash_SCK_Pin;
  GPIO_InitStruct.Mode = LL_GPIO_MODE_ALTERNATE;
  GPIO_InitStruct.Speed = LL_GPIO_SPEED_FREQ_LOW;
  GPIO_InitStruct.OutputType = LL_GPIO_OUTPUT_PUSHPULL;
  GPIO_InitStruct.Pull = LL_GPIO_PULL_NO;
  GPIO_InitStruct.Alternate = LL_GPIO_AF_5;
  LL_GPIO_Init(ext_flash_SCK_GPIO_Port, &GPIO_InitStruct);

  /**/
  GPIO_InitStruct.Pin = ext_flash_MISO_Pin;
  GPIO_InitStruct.Mode = LL_GPIO_MODE_ALTERNATE;
  GPIO_InitStruct.Speed = LL_GPIO_SPEED_FREQ_LOW;
  GPIO_InitStruct.OutputType = LL_GPIO_OUTPUT_PUSHPULL;
  GPIO_InitStruct.Pull = LL_GPIO_PULL_NO;
  GPIO_InitStruct.Alternate = LL_GPIO_AF_5;
  LL_GPIO_Init(ext_flash_MISO_GPIO_Port, &GPIO_InitStruct);

  /**/
  GPIO_InitStruct.Pin = ext_flash_MOSI_Pin;
  GPIO_InitStruct.Mode = LL_GPIO_MODE_ALTERNATE;
  GPIO_InitStruct.Speed = LL_GPIO_SPEED_FREQ_LOW;
  GPIO_InitStruct.OutputType = LL_GPIO_OUTPUT_PUSHPULL;
  GPIO_InitStruct.Pull = LL_GPIO_PULL_NO;
  GPIO_InitStruct.Alternate = LL_GPIO_AF_5;
  LL_GPIO_Init(ext_flash_MOSI_GPIO_Port, &GPIO_InitStruct);

  /**/
  GPIO_InitStruct.Pin = ext_flash_write_protect_Pin;
  GPIO_InitStruct.Mode = LL_GPIO_MODE_OUTPUT;
  GPIO_InitStruct.Speed = LL_GPIO_SPEED_FREQ_LOW;
  GPIO_InitStruct.OutputType = LL_GPIO_OUTPUT_PUSHPULL;
  GPIO_InitStruct.Pull = LL_GPIO_PULL_NO;
  LL_GPIO_Init(ext_flash_write_protect_GPIO_Port, &GPIO_InitStruct);

  /**/
  GPIO_InitStruct.Pin = LED1_Pin;
  GPIO_InitStruct.Mode = LL_GPIO_MODE_OUTPUT;
  GPIO_InitStruct.Speed = LL_GPIO_SPEED_FREQ_LOW;
  GPIO_InitStruct.OutputType = LL_GPIO_OUTPUT_PUSHPULL;
  GPIO_InitStruct.Pull = LL_GPIO_PULL_NO;
  LL_GPIO_Init(LED1_GPIO_Port, &GPIO_InitStruct);

  /**/
  GPIO_InitStruct.Pin = LED2_Pin;
  GPIO_InitStruct.Mode = LL_GPIO_MODE_OUTPUT;
  GPIO_InitStruct.Speed = LL_GPIO_SPEED_FREQ_LOW;
  GPIO_InitStruct.OutputType = LL_GPIO_OUTPUT_PUSHPULL;
  GPIO_InitStruct.Pull = LL_GPIO_PULL_NO;
  LL_GPIO_Init(LED2_GPIO_Port, &GPIO_InitStruct);

  /**/
  GPIO_InitStruct.Pin = LED3_Pin;
  GPIO_InitStruct.Mode = LL_GPIO_MODE_OUTPUT;
  GPIO_InitStruct.Speed = LL_GPIO_SPEED_FREQ_LOW;
  GPIO_InitStruct.OutputType = LL_GPIO_OUTPUT_PUSHPULL;
  GPIO_InitStruct.Pull = LL_GPIO_PULL_NO;
  LL_GPIO_Init(LED3_GPIO_Port, &GPIO_InitStruct);

  /**/
  GPIO_InitStruct.Pin = optional_magnetometer_data_ready_Pin;
  GPIO_InitStruct.Mode = LL_GPIO_MODE_INPUT;
  GPIO_InitStruct.Pull = LL_GPIO_PULL_NO;
  LL_GPIO_Init(optional_magnetometer_data_ready_GPIO_Port, &GPIO_InitStruct);

  /**/
  GPIO_InitStruct.Pin = optional_magnetometer_interrupt_Pin;
  GPIO_InitStruct.Mode = LL_GPIO_MODE_INPUT;
  GPIO_InitStruct.Pull = LL_GPIO_PULL_NO;
  LL_GPIO_Init(optional_magnetometer_interrupt_GPIO_Port, &GPIO_InitStruct);

  /**/
  GPIO_InitStruct.Pin = sensor_bar_on_of_Pin;
  GPIO_InitStruct.Mode = LL_GPIO_MODE_OUTPUT;
  GPIO_InitStruct.Speed = LL_GPIO_SPEED_FREQ_LOW;
  GPIO_InitStruct.OutputType = LL_GPIO_OUTPUT_PUSHPULL;
  GPIO_InitStruct.Pull = LL_GPIO_PULL_NO;
  LL_GPIO_Init(sensor_bar_on_of_GPIO_Port, &GPIO_InitStruct);

  /**/
  LL_SYSCFG_SetEXTISource(LL_SYSCFG_EXTI_PORTC, LL_SYSCFG_EXTI_LINE10);

  /**/
  LL_SYSCFG_SetEXTISource(LL_SYSCFG_EXTI_PORTC, LL_SYSCFG_EXTI_LINE11);

  /**/
  EXTI_InitStruct.Line_0_31 = LL_EXTI_LINE_10;
  EXTI_InitStruct.LineCommand = ENABLE;
  EXTI_InitStruct.Mode = LL_EXTI_MODE_IT;
  EXTI_InitStruct.Trigger = LL_EXTI_TRIGGER_RISING;
  LL_EXTI_Init(&EXTI_InitStruct);

  /**/
  EXTI_InitStruct.Line_0_31 = LL_EXTI_LINE_11;
  EXTI_InitStruct.LineCommand = ENABLE;
  EXTI_InitStruct.Mode = LL_EXTI_MODE_IT;
  EXTI_InitStruct.Trigger = LL_EXTI_TRIGGER_RISING;
  LL_EXTI_Init(&EXTI_InitStruct);

  /**/
  LL_GPIO_SetPinPull(lsm6dsr_int2_GPIO_Port, lsm6dsr_int2_Pin, LL_GPIO_PULL_NO);

  /**/
  LL_GPIO_SetPinPull(lsm6dsr_int1_GPIO_Port, lsm6dsr_int1_Pin, LL_GPIO_PULL_NO);

  /**/
  LL_GPIO_SetPinMode(lsm6dsr_int2_GPIO_Port, lsm6dsr_int2_Pin, LL_GPIO_MODE_INPUT);

  /**/
  LL_GPIO_SetPinMode(lsm6dsr_int1_GPIO_Port, lsm6dsr_int1_Pin, LL_GPIO_MODE_INPUT);

  /* EXTI interrupt init*/
  NVIC_SetPriority(EXTI15_10_IRQn, NVIC_EncodePriority(NVIC_GetPriorityGrouping(),0, 0));
  NVIC_EnableIRQ(EXTI15_10_IRQn);

}

void Error_Handler(void)
{
  __disable_irq();
  while (1)
  {
  }
}
